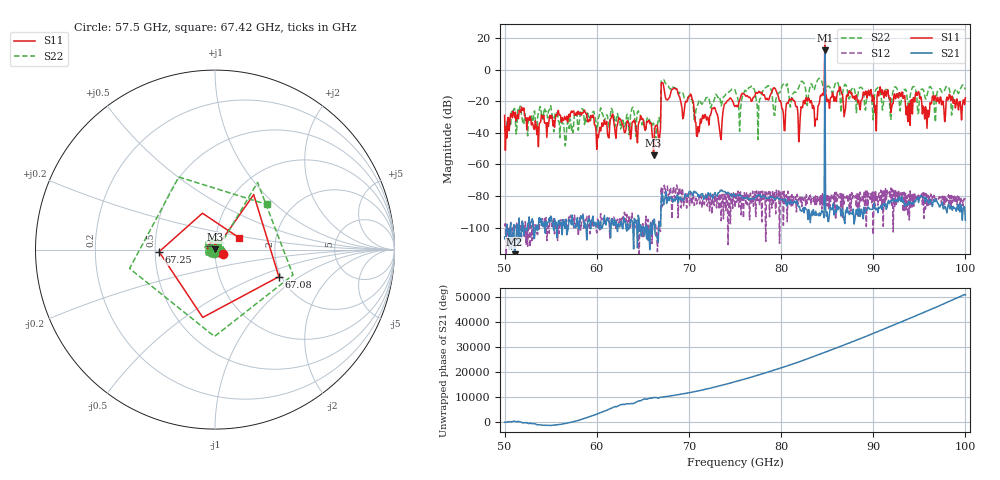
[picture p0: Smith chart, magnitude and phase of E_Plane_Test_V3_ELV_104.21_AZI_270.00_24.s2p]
! 11/26/2026 4:15:14 PM
! C:\ANRITSUVNA\TEMP\TEMP.S2P
! CHANNEL.1
! TR.MEASUREMENT
! RAW.DATA
# HZ S RI R 50.0
! FREQ.HZ  S11RE  S11IM  S21RE  S21IM  S12RE  S12IM  S22RE  S22IM
!; PortSelection: Port_12
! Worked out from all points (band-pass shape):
!   601 points, 50 GHz to 100 GHz, reference 50 ohm
!   highest |S21| = 12.13 dB at 84.75 GHz (marker M1); lowest = -119.8 dB at 51.08 GHz (marker M2)
!   |S21| within 3 dB of the highest: 84.74764 GHz to 84.7525 GHz (4.864 MHz wide, 0.00574 % of centre)
!   lowest |S11| = -54.1 dB at 66.17 GHz (marker M3), VSWR 1.00, Z = 50.1 + j0.143 ohm
!   |S11| at or under -10 dB: start of sweep to 67 GHz; 67.24 GHz to 84.68 GHz (17.44 GHz wide, 23 % of centre); 84.82 GHz to end of sweep
!   |S22| runs from -48.2 to -5.6 dB; largest |S21 - S12| = 4
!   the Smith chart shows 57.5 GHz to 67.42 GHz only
!   S11 on the Smith chart (normalised r, x): 57.5 GHz: 1.09, -0.05; 67.08 GHz: 1.94, -0.69; 67.25 GHz: 0.52, -0.01; 67.42 GHz: 1.29, +0.18
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5e10  -0.0328 0.0131  4.2e-06 -2.9e-06  -1.03e-05 -4.7e-06  0.00901 0.0135
5.108333e10  -0.0184 -0.0246  1e-06 -2e-07  -8.1e-06 -4e-07  -0.0585 0.00812
5.75e10  0.0431 -0.0235  -7.9e-06 -9.2e-06  5.2e-06 8.5e-06  -0.00439 -0.0181
5.841667e10  0.0266 -0.0349  -1.03e-05 1.74e-05  6.1e-06 2.11e-05  -0.0567 0.0131
6.016667e10  -0.00216 0.00667  -1.35e-05 -9.7e-06  -1.23e-05 1.04e-05  -0.0123 -0.0275
6.616667e10  0.00137 0.00143  -1.18e-05 -4.4e-06  -8e-06 1.49e-05  0.0126 0.0154
6.666667e10  0.00685 0.00496  -3.4e-06 -6e-07  8.7e-06 -3.9e-06  -0.0153 0.0213
6.708333e10  0.3559 -0.1509  7.16e-05 -9.82e-05  4.38e-05 -1.52e-05  0.4347 -0.1412
6.725e10  -0.3114 -0.012  3.94e-05 3.48e-05  0.000157 0.000133  -0.4759 -0.1052
6.741667e10  0.133 0.0668  -3.59e-05 8.31e-05  -0.000119 -3.23e-05  0.2891 0.2515
7.025e10  -0.0126 -0.1586  6.69e-05 0.000114  4.12e-05 8.84e-05  -0.1067 -0.0429
7.091667e10  -0.00664 -0.00422  -0.000109 -4.83e-05  6.07e-05 3.27e-05  -0.0326 0.0618
7.5e10  -0.0609 0.0307  6.59e-05 -6.91e-05  4.18e-05 -1.18e-05  0.2148 -0.0658
7.925e10  0.2551 0.0759  5.47e-05 -5.69e-05  0.000108 -6.2e-06  0.022 -0.0282
8.341667e10  -0.0186 -0.0561  -1.28e-05 -2.07e-05  2.9e-05 6.78e-05  -0.2491 0.145
8.441667e10  -0.1468 0.0194  -3.54e-05 4.6e-06  3.37e-05 2.02e-05  0.3945 0.1563
8.45e10  -0.1075 0.1385  -3.9e-06 -3.17e-05  9.53e-05 7.14e-05  0.263 -0.2272
8.475e10  -5.482 6.237  0.5798 -4.001  2.96e-05 7.37e-05  0.0755 0.1272
8.5e10  -0.0957 -0.00566  -7.3e-06 -3.07e-05  4.87e-05 4.2e-06  -0.2622 0.1162
8.508333e10  -0.103 0.0492  1.52e-05 -5e-06  8.41e-05 7.79e-05  -0.0316 0.3019
9.166667e10  0.1117 0.0924  2.73e-05 -6.87e-05  0.000109 -2.6e-05  0.1528 0.0832
1e11  -0.1276 -0.00492  -1.56e-05 -7.3e-06  7.14e-05 4.77e-05  0.1915 0.137
